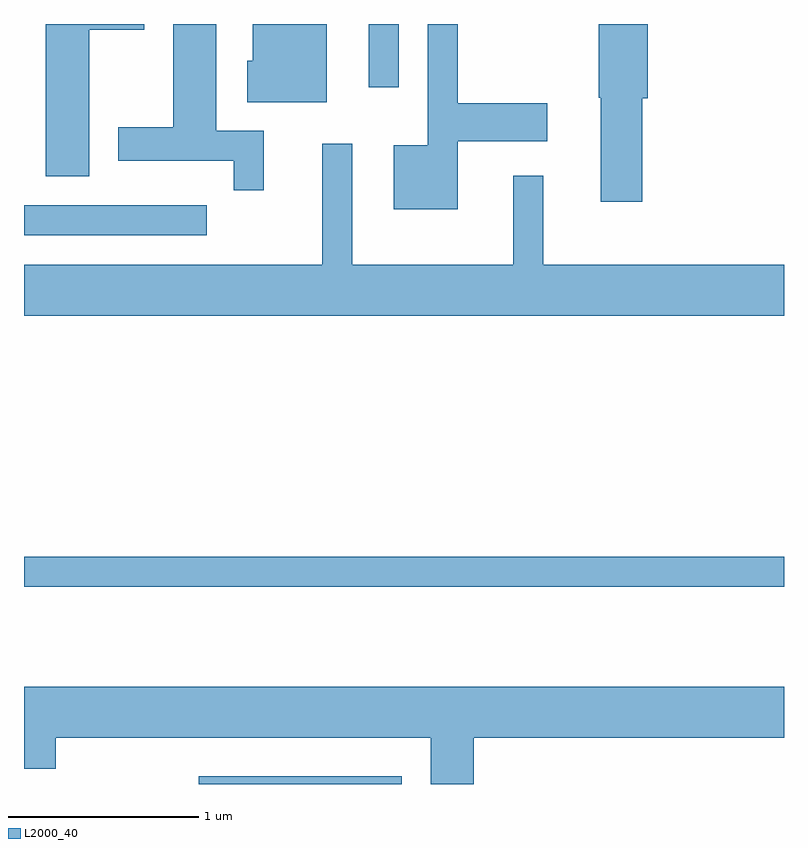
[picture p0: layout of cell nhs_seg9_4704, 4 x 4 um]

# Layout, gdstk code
import gdstk
lib = gdstk.Library(unit=1e-6, precision=1e-09)
def R(c, l, rs):  # rectangles x0, y0, x1, y1
    for r in rs: c.add(gdstk.rectangle(r[:2], r[2:], *l))
def P(c, l, *ps):  # polygons
    for p in ps: c.add(gdstk.Polygon(p, *l))
L2000_40 = (2000, 40)

nhs_seg9_4704 = lib.new_cell('nhs_seg9_4704')
R(nhs_seg9_4704, L2000_40, [(324.531,2020.432,325.599,2020.474), (323.611,2021.471,327.611,2021.629), (323.611,2023.321,324.573,2023.479), (325.426,2024.098,325.584,2024.432)])
P(nhs_seg9_4704, L2000_40, [(325.204,2024.432),(324.816,2024.432),(324.816,2024.239),(324.786,2024.239),(324.786,2024.021),(325.204,2024.021)],
  [(324.874,2023.869),(324.624,2023.869),(324.624,2024.432),(324.396,2024.432),(324.396,2023.889),(324.106,2023.889),(324.106,2023.711),(324.716,2023.711),(324.716,2023.558),(324.874,2023.558)],
  [(326.864,2024.041),(326.894,2024.041),(326.894,2024.432),(326.636,2024.432),(326.636,2024.045),(326.646,2024.045),(326.646,2023.496),(326.864,2023.496)],
  [(325.894,2023.816),(326.364,2023.816),(326.364,2024.014),(325.894,2024.014),(325.894,2024.432),(325.736,2024.432),(325.736,2023.794),(325.556,2023.794),(325.556,2023.456),(325.894,2023.456)],
  [(323.954,2024.401),(324.244,2024.401),(324.244,2024.432),(323.726,2024.432),(323.726,2023.631),(323.954,2023.631)],
  [(327.611,2023.164),(326.344,2023.164),(326.344,2023.633),(326.186,2023.633),(326.186,2023.164),(325.339,2023.164),(325.339,2023.803),(325.181,2023.803),(325.181,2023.164),(323.611,2023.164),(323.611,2022.896),(327.611,2022.896)],
  [(325.979,2020.676),(327.611,2020.676),(327.611,2020.944),(323.611,2020.944),(323.611,2020.511),(323.779,2020.511),(323.779,2020.676),(325.751,2020.676),(325.751,2020.432),(325.979,2020.432)])

lib.write_gds('nhs_seg9_4704.gds')
